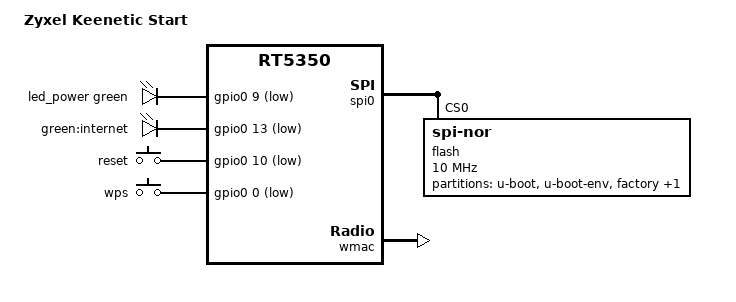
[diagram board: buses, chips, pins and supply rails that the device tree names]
// SPDX-License-Identifier: GPL-2.0-or-later OR MIT

#include "rt5350.dtsi"

#include <dt-bindings/gpio/gpio.h>
#include <dt-bindings/input/input.h>
#include <dt-bindings/leds/common.h>

/ {
	compatible = "zyxel,keenetic-start", "ralink,rt5350-soc";
	model = "Zyxel Keenetic Start";

	aliases {
		led-boot = &led_power;
		led-failsafe = &led_power;
		led-running = &led_power;
		led-upgrade = &led_power;
		label-mac-device = &ethernet;
	};

	leds {
		compatible = "gpio-leds";

		led_power: power {
			function = LED_FUNCTION_POWER;
			color = <LED_COLOR_ID_GREEN>;
			gpios = <&gpio0 9 GPIO_ACTIVE_LOW>;
		};

		internet {
			label = "green:internet";
			gpios = <&gpio0 13 GPIO_ACTIVE_LOW>;
		};
	};

	keys {
		compatible = "gpio-keys";

		reset {
			label = "reset";
			gpios = <&gpio0 10 GPIO_ACTIVE_LOW>;
			linux,code = <KEY_RESTART>;
		};

		wps {
			label = "wps";
			gpios = <&gpio0 0 GPIO_ACTIVE_LOW>;
			linux,code = <KEY_WPS_BUTTON>;
		};
	};
};

&spi0 {
	status = "okay";

	flash@0 {
		compatible = "jedec,spi-nor";
		reg = <0>;
		spi-max-frequency = <10000000>;

		partitions {
			compatible = "fixed-partitions";
			#address-cells = <1>;
			#size-cells = <1>;

			partition@0 {
				label = "u-boot";
				reg = <0x0 0x30000>;
				read-only;
			};

			partition@30000 {
				label = "u-boot-env";
				reg = <0x30000 0x10000>;
				read-only;
			};

			partition@40000 {
				label = "factory";
				reg = <0x40000 0x10000>;
				read-only;

				nvmem-layout {
					compatible = "fixed-layout";
					#address-cells = <1>;
					#size-cells = <1>;

					eeprom_factory_0: eeprom@0 {
						reg = <0x0 0x200>;
					};

					macaddr_factory_28: macaddr@28 {
						reg = <0x28 0x6>;
					};
				};
			};

			partition@50000 {
				compatible = "denx,uimage";
				label = "firmware";
				reg = <0x50000 0x3b0000>;
			};
		};
	};
};

&state_default {
	gpio {
		groups = "i2c", "jtag", "uartf";
		function = "gpio";
	};
};

&ethernet {
	nvmem-cells = <&macaddr_factory_28>;
	nvmem-cell-names = "mac-address";
};

&esw {
	mediatek,portmap = <0x2f>;
	mediatek,led_polarity = <0x17>;
};

&wmac {
	ralink,led-polarity = <1>;
	nvmem-cells = <&eeprom_factory_0>;
	nvmem-cell-names = "eeprom";
};
